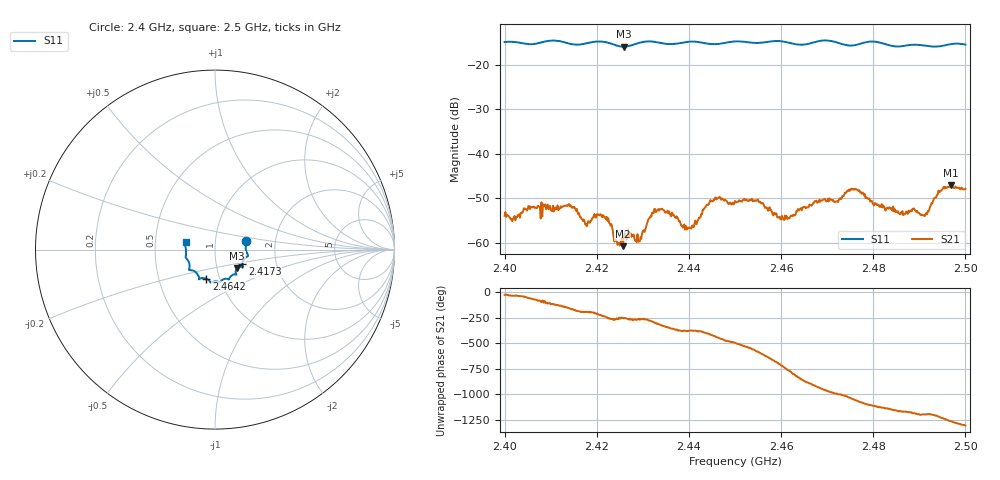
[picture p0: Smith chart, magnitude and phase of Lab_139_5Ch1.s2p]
# Hz S RI R 50
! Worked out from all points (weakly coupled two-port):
!   601 points, 2.4 GHz to 2.5 GHz, reference 50 ohm
!   highest |S21| = -47.01 dB at 2.4968 GHz (marker M1); lowest = -60.8 dB at 2.4257 GHz (marker M2)
!   lowest |S11| = -15.9 dB at 2.4258 GHz (marker M3), VSWR 1.38, Z = 62.4 - j13.3 ohm
!   |S11| at or under -10 dB: start of sweep to end of sweep
!   S12 and S22 are empty: the file has one direction only
!   S11 on the Smith chart (normalised r, x): 2.4 GHz: 1.41, +0.14; 2.4173 GHz: 1.34, -0.23; 2.4642 GHz: 0.86, -0.29; 2.5 GHz: 0.72, +0.06
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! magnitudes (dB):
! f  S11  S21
! 2.4 GHz  -14.8  -53.9
! 2.4138 GHz  -15.1  -51.5
! 2.4167 GHz  -15.4  -54.6
! 2.4173 GHz  -15.2  -55.1
! 2.4212 GHz  -14.8  -54.3
! 2.4242 GHz  -15.6  -59.3
! 2.4257 GHz  -15.9  -60.8
! 2.4258 GHz  -15.9  -58.9
! 2.4292 GHz  -15.1  -59.7
! 2.4333 GHz  -15.0  -52.5
! 2.44 GHz  -14.8  -56.7
! 2.4452 GHz  -15.3  -50.7
! 2.45 GHz  -14.7  -50.6
! 2.455 GHz  -15.0  -50.3
! 2.4602 GHz  -14.7  -53.9
! 2.4642 GHz  -15.4  -52.4
! 2.4667 GHz  -15.0  -51.7
! 2.4758 GHz  -15.6  -48.0
! 2.4833 GHz  -15.5  -52.4
! 2.4912 GHz  -15.6  -54.0
! 2.4968 GHz  -15.3  -47.0
! 2.5 GHz  -15.4  -47.9
